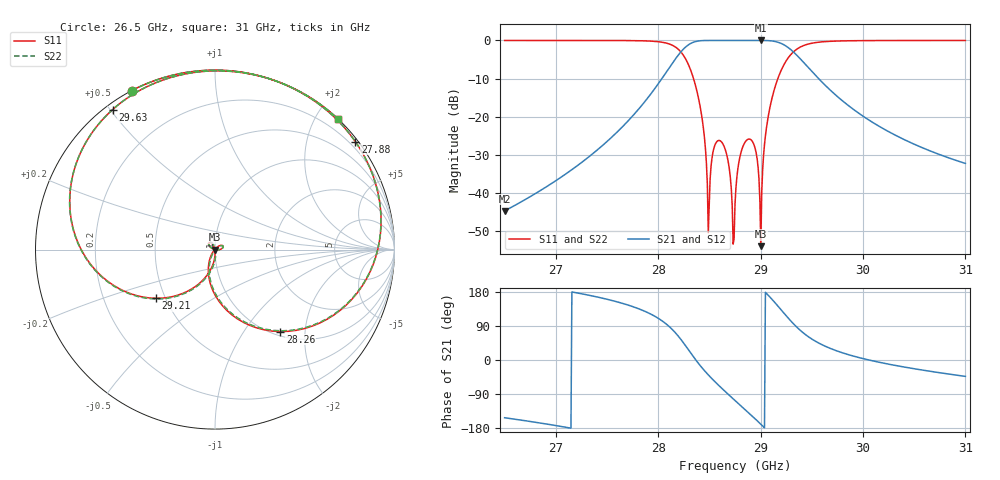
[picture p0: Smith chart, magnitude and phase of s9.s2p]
! Touchstone file from project Ka_PF
! Exported from HFSS 15.0.0
! Variables:
!  AA = 0.34in
!  BB = 0.145in
!  M01 = 0.1662in
!  M11 = 0.2126in
!  M12 = 0.1115in
!  M22 = 0.2363in
!  PL = 0.3in
!  RR = 0.035in
!  TT = 0.04in
!Data is not renormalized
# GHZ S DB
! Modal data exported
! Port[1] = 1:1
! Port[2] = 2:1
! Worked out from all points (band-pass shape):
!   501 points, 26.5 GHz to 31 GHz, reference per port
!   highest |S21| = 0.00 dB at 29 GHz (marker M1); lowest = -44.8 dB at 26.5 GHz (marker M2)
!   |S21| within 3 dB of the highest: 28.22 GHz to 29.32 GHz (1.098 GHz wide, 3.82 % of centre)
!   lowest |S11| = -54.0 dB at 29 GHz (marker M3), VSWR 1.00
!   |S11| at or under -10 dB: 28.34 GHz to 29.17 GHz (823.8 MHz wide, 2.86 % of centre)
!   |S22| runs from -53.9 to 0.0 dB; largest |S21 - S12| = 1.8e-14
!   S11 on the Smith chart (normalised r, x): 26.5 GHz: 0.00, +0.61; 27.88 GHz: 0.06, +2.94; 28.26 GHz: 1.07, -1.49; 29.21 GHz: 0.44, -0.29; 29.63 GHz: 0.02, +0.51; 31 GHz: 0.00, +2.31
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26.5  -0.00 117.6  -44.75 -152.4  -44.75 -152.4  -0.00 117.7
! Gamma ! -0 419.682078121563 -0 419.682039278046
! Port Impedance 262.305608416524 0 262.301060829652 0
27.256  -0.00 84.5  -31.95 174.6  -31.95 174.6  -0.00 84.6
27.877  -0.12 37.5  -15.81 127.6  -15.81 127.6  -0.12 37.7
28.003  -0.34 19.5  -11.28 109.6  -11.28 109.6  -0.34 19.7
28.138  -1.26 -9.8  -6.00 80.4  -6.00 80.4  -1.26 -9.4
28.264  -4.67 -51.4  -1.81 38.9  -1.81 38.9  -4.67 -50.8
28.417  -18.48 -108.2  -0.06 -17.0  -0.06 -17.0  -18.48 -105.8
28.489  -50.47 -165.8  -0.00 -39.2  -0.00 -39.2  -50.47 -92.5
28.543  -28.37 37.7  -0.01 -54.3  -0.01 -54.3  -28.37 33.8
28.606  -26.35 20.0  -0.01 -70.9  -0.01 -70.9  -26.35 18.3
28.75  -43.05 166.4  -0.00 -106.9  -0.00 -106.9  -43.05 159.7
28.795  -30.95 153.5  -0.00 -118.0  -0.00 -118.0  -30.95 150.6
28.876  -25.95 133.7  -0.01 -137.7  -0.01 -137.7  -25.95 130.9
28.948  -28.47 116.9  -0.01 -155.5  -0.01 -155.5  -28.47 112.0
29.002  -54.01 -150.2  -0.00 -169.4  -0.00 -169.4  -53.87 -8.3
29.074  -20.01 -100.2  -0.04 171.0  -0.04 171.0  -20.01 -97.7
29.209  -7.38 -140.6  -0.88 129.7  -0.88 129.7  -7.38 -140.0
29.353  -2.30 176.7  -3.86 86.8  -3.86 86.8  -2.30 177.0
29.506  -0.70 144.3  -8.29 54.3  -8.29 54.3  -0.70 144.4
29.632  -0.30 126.2  -11.80 36.2  -11.80 36.2  -0.30 126.3
30.253  -0.02 78.9  -23.98 -11.1  -23.98 -11.1  -0.02 78.9
31  -0.00 46.8  -32.29 -43.2  -32.29 -43.2  -0.00 46.7
